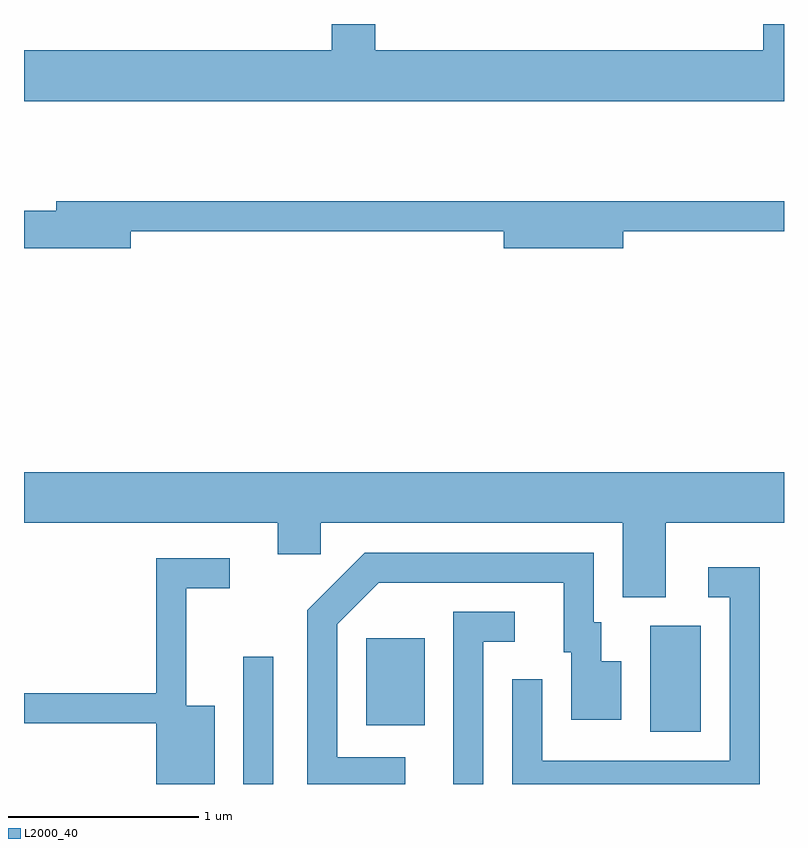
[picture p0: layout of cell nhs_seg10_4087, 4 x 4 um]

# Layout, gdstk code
import gdstk
lib = gdstk.Library(unit=1e-6, precision=1e-09)
def R(c, l, rs):  # rectangles x0, y0, x1, y1
    for r in rs: c.add(gdstk.rectangle(r[:2], r[2:], *l))
def P(c, l, *ps):  # polygons
    for p in ps: c.add(gdstk.Polygon(p, *l))
L2000_40 = (2000, 40)

nhs_seg10_4087 = lib.new_cell('nhs_seg10_4087')
R(nhs_seg10_4087, L2000_40, [(306.766,2132.522,306.924,2133.193), (308.906,2132.796,309.174,2133.354), (307.411,2132.831,307.719,2133.289)])
P(nhs_seg10_4087, L2000_40, [(309.611,2136.522),(309.501,2136.522),(309.501,2136.384),(307.459,2136.384),(307.459,2136.522),(307.231,2136.522),(307.231,2136.384),(305.611,2136.384),(305.611,2136.116),(309.611,2136.116)],
  [(306.174,2135.431),(308.136,2135.431),(308.136,2135.341),(308.764,2135.341),(308.764,2135.431),(309.611,2135.431),(309.611,2135.589),(305.781,2135.589),(305.781,2135.539),(305.611,2135.539),(305.611,2135.341),(306.174,2135.341)],
  [(305.611,2133.896),(306.946,2133.896),(306.946,2133.731),(307.174,2133.731),(307.174,2133.896),(308.761,2133.896),(308.761,2133.506),(308.989,2133.506),(308.989,2133.896),(309.611,2133.896),(309.611,2134.164),(305.611,2134.164)],
  [(307.618,2132.664),(307.259,2132.664),(307.259,2133.364),(307.477,2133.581),(308.451,2133.581),(308.451,2133.216),(308.491,2133.216),(308.491,2132.861),(308.754,2132.861),(308.754,2133.169),(308.649,2133.169),(308.649,2133.374),(308.609,2133.374),(308.609,2133.739),(307.404,2133.739),(307.101,2133.437),(307.101,2132.522),(307.618,2132.522)],
  [(306.614,2132.934),(306.464,2132.934),(306.464,2133.551),(306.693,2133.551),(306.693,2133.709),(306.306,2133.709),(306.306,2132.999),(305.611,2132.999),(305.611,2132.841),(306.306,2132.841),(306.306,2132.522),(306.614,2132.522)],
  [(309.484,2133.664),(309.213,2133.664),(309.213,2133.506),(309.326,2133.506),(309.326,2132.644),(308.339,2132.644),(308.339,2133.073),(308.181,2133.073),(308.181,2132.522),(309.484,2132.522)],
  [(308.029,2133.271),(308.193,2133.271),(308.193,2133.429),(307.871,2133.429),(307.871,2132.522),(308.029,2132.522)])

lib.write_gds('nhs_seg10_4087.gds')
